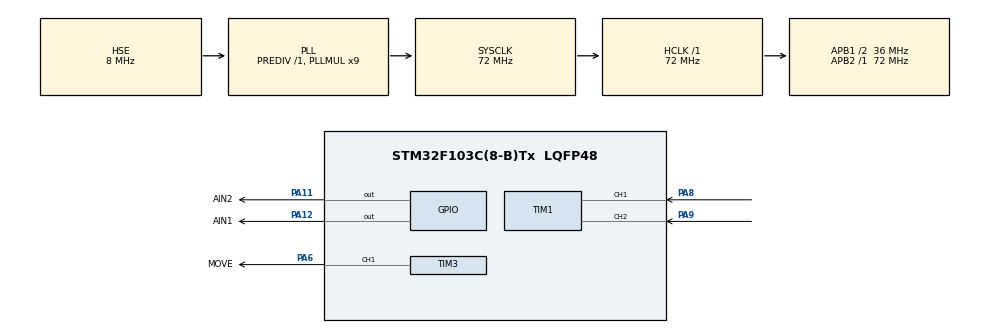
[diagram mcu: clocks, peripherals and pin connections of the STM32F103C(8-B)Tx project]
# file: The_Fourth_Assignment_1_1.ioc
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Mcu.Family=STM32F1
Mcu.Name=STM32F103C(8-B)Tx
Mcu.Package=LQFP48
NVIC.PriorityGroup=NVIC_PRIORITYGROUP_4
NVIC.TIM2_IRQn=true\:0\:0\:false\:false\:true\:true\:true\:true
PA11.GPIO_Label=AIN2
PA11.Signal=GPIO_Output
PA12.GPIO_Label=AIN1
PA12.Signal=GPIO_Output
PA13.Mode=Serial_Wire
PA13.Signal=SYS_JTMS-SWDIO
PA14.Mode=Serial_Wire
PA14.Signal=SYS_JTCK-SWCLK
PA6.GPIO_Label=MOVE
PA6.Signal=S_TIM3_CH1
PA8.Signal=S_TIM1_CH1
PA9.Signal=S_TIM1_CH2
PD0-OSC_IN.Mode=HSE-External-Oscillator
PD0-OSC_IN.Signal=RCC_OSC_IN
PD1-OSC_OUT.Mode=HSE-External-Oscillator
PD1-OSC_OUT.Signal=RCC_OSC_OUT
ProjectManager.HeapSize=0x200
ProjectManager.StackSize=0x400
ProjectManager.TargetToolchain=Makefile
RCC.AHBFreq_Value=72000000
RCC.APB1CLKDivider=RCC_HCLK_DIV2
RCC.APB1Freq_Value=36000000
RCC.APB1TimFreq_Value=72000000
RCC.APB2Freq_Value=72000000
RCC.APB2TimFreq_Value=72000000
RCC.HCLKFreq_Value=72000000
RCC.PLLMUL=RCC_PLL_MUL9
RCC.PLLSourceVirtual=RCC_PLLSOURCE_HSE
RCC.SYSCLKFreq_VALUE=72000000
RCC.SYSCLKSource=RCC_SYSCLKSOURCE_PLLCLK
RCC.USBFreq_Value=72000000
SH.S_TIM1_CH1.0=TIM1_CH1,Encoder_Interface
SH.S_TIM1_CH2.0=TIM1_CH2,Encoder_Interface
SH.S_TIM3_CH1.0=TIM3_CH1,PWM Generation1 CH1
TIM2.Period=999
TIM2.Prescaler=719
TIM3.Channel-PWM\ Generation1\ CH1=TIM_CHANNEL_1
TIM3.Period=999
TIM3.Prescaler=71
VP_TIM2_VS_ClockSourceINT.Mode=Internal
VP_TIM3_VS_ClockSourceINT.Mode=Internal
board=custom

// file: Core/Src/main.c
/* USER CODE BEGIN Header */
/**
  ******************************************************************************
  * @file           : main.c
  * @brief          : Main program body
  ******************************************************************************
  * @attention
  *
  * Copyright (c) 2026 STMicroelectronics.
  * All rights reserved.
  *
  * This software is licensed under terms that can be found in the LICENSE file
  * in the root directory of this software component.
  * If no LICENSE file comes with this software, it is provided AS-IS.
  *
  ******************************************************************************
  */
/* USER CODE END Header */
#include "main.h"
#include "tim.h"
#include "gpio.h"

/* USER CODE BEGIN Includes */
#include "pid.h"
#include "delta.h"
/* USER CODE END Includes */

/* USER CODE BEGIN PV */
volatile PID_t speed_pid = {
    .Kp = 1.0f,
    .Ki = 0.5f,
    .Kd = 0.1f,
    .previous_error = 0.0f,
    .integral = 0.0f,
    .output_max = 999.0f,
    .output_min = -999.0f
};

volatile uint16_t previous_count = 0;
volatile uint16_t current_count = 0;
volatile int32_t delta_count = 0;
volatile int32_t total_count = 0;
volatile float current_speed = 0.0f; //单位为CNT/s，实际需换算
volatile float target_CCR = 0; //目标占空比

float dt = 0.01;
float target_speed = 13 * 30 * 2 * 0.5f;  //单位为CNT/s，对应30rpm
/* USER CODE END PV */

void SystemClock_Config(void);

int main(void)
{

  /* MCU Configuration--------------------------------------------------------*/

  /* Reset of all peripherals, Initializes the Flash interface and the Systick. */
  HAL_Init();

  /* Configure the system clock */
  SystemClock_Config();

  /* Initialize all configured peripherals */
  MX_GPIO_Init();
  MX_TIM1_Init();
  MX_TIM2_Init();
  MX_TIM3_Init();
  /* USER CODE BEGIN 2 */
  //设置初始化参数
  __HAL_TIM_SET_COMPARE(&htim3, TIM_CHANNEL_1, 0); //设置初始占空比为0
  HAL_GPIO_WritePin(AIN1_GPIO_Port, AIN1_Pin, GPIO_PIN_RESET);
  HAL_GPIO_WritePin(AIN2_GPIO_Port, AIN2_Pin, GPIO_PIN_SET); //初始定义顺时针旋转

  //开始启动——TIM1用于编码器测速，TIM2用于定时器中断，TIM3用于PWM输出

  __HAL_TIM_SET_COUNTER(&htim1, 0); //将编码器计数器清零
  HAL_TIM_Base_Start(&htim1);
  if(HAL_TIM_Encoder_Start(&htim1, TIM_CHANNEL_ALL) != HAL_OK)
  {
      Error_Handler();
  }

  HAL_TIM_Base_Start(&htim3);
  if(HAL_TIM_PWM_Start(&htim3, TIM_CHANNEL_1) != HAL_OK)
  {
      Error_Handler();
  }

  __HAL_TIM_SET_COUNTER(&htim2, 0); //将定时器计数器清零
  __HAL_TIM_CLEAR_FLAG(&htim2, TIM_FLAG_UPDATE); //清除定时器中断标志位
  if(HAL_TIM_Base_Start_IT(&htim2) != HAL_OK)
  {
      Error_Handler();
  }

  /* USER CODE END 2 */

  /* Infinite loop */
  while (1)
  {

  }
}

void SystemClock_Config(void)
{
  RCC_OscInitTypeDef RCC_OscInitStruct = {0};
  RCC_ClkInitTypeDef RCC_ClkInitStruct = {0};

  /** Initializes the RCC Oscillators according to the specified parameters
  * in the RCC_OscInitTypeDef structure.
  */
  RCC_OscInitStruct.OscillatorType = RCC_OSCILLATORTYPE_HSE;
  RCC_OscInitStruct.HSEState = RCC_HSE_ON;
  RCC_OscInitStruct.HSEPredivValue = RCC_HSE_PREDIV_DIV1;
  RCC_OscInitStruct.HSIState = RCC_HSI_ON;
  RCC_OscInitStruct.PLL.PLLState = RCC_PLL_ON;
  RCC_OscInitStruct.PLL.PLLSource = RCC_PLLSOURCE_HSE;
  RCC_OscInitStruct.PLL.PLLMUL = RCC_PLL_MUL9;
  if (HAL_RCC_OscConfig(&RCC_OscInitStruct) != HAL_OK)
  {
    Error_Handler();
  }

  /** Initializes the CPU, AHB and APB buses clocks
  */
  RCC_ClkInitStruct.ClockType = RCC_CLOCKTYPE_HCLK|RCC_CLOCKTYPE_SYSCLK
                              |RCC_CLOCKTYPE_PCLK1|RCC_CLOCKTYPE_PCLK2;
  RCC_ClkInitStruct.SYSCLKSource = RCC_SYSCLKSOURCE_PLLCLK;
  RCC_ClkInitStruct.AHBCLKDivider = RCC_SYSCLK_DIV1;
  RCC_ClkInitStruct.APB1CLKDivider = RCC_HCLK_DIV2;
  RCC_ClkInitStruct.APB2CLKDivider = RCC_HCLK_DIV1;

  if (HAL_RCC_ClockConfig(&RCC_ClkInitStruct, FLASH_LATENCY_2) != HAL_OK)
  {
    Error_Handler();
  }
}

/* USER CODE BEGIN 4 */
void HAL_TIM_PeriodElapsedCallback(TIM_HandleTypeDef *htim)
{
    if (htim->Instance == TIM2) //检查是否为定时器2的中断
    {
        //访问编码器CNT
        current_count = __HAL_TIM_GET_COUNTER(&htim1);
        delta_count = Encoder_Delta(current_count, previous_count);
        total_count += delta_count;
        previous_count = current_count;

        //计算速度
        current_speed = (float)delta_count / dt;
        target_CCR = PID_Update(&speed_pid, target_speed, current_speed, dt);

        //判断方向，并赋值
        if(target_CCR >= 0)
        {
            HAL_GPIO_WritePin(AIN1_GPIO_Port, AIN1_Pin, GPIO_PIN_RESET);
            HAL_GPIO_WritePin(AIN2_GPIO_Port, AIN2_Pin, GPIO_PIN_SET); //顺时针旋转
            uint32_t pwm_ccr = (uint32_t)target_CCR;
            __HAL_TIM_SET_COMPARE(&htim3, TIM_CHANNEL_1, pwm_ccr);
        }
        else
        {
            HAL_GPIO_WritePin(AIN1_GPIO_Port, AIN1_Pin, GPIO_PIN_SET);
            HAL_GPIO_WritePin(AIN2_GPIO_Port, AIN2_Pin, GPIO_PIN_RESET); //逆时针旋转
            uint32_t pwm_ccr = -target_CCR; //取绝对值
            __HAL_TIM_SET_COMPARE(&htim3, TIM_CHANNEL_1, pwm_ccr);
        }

    }
}
/* USER CODE END 4 */

void Error_Handler(void)
{
  __disable_irq();
  while (1)
  {
  }
}
